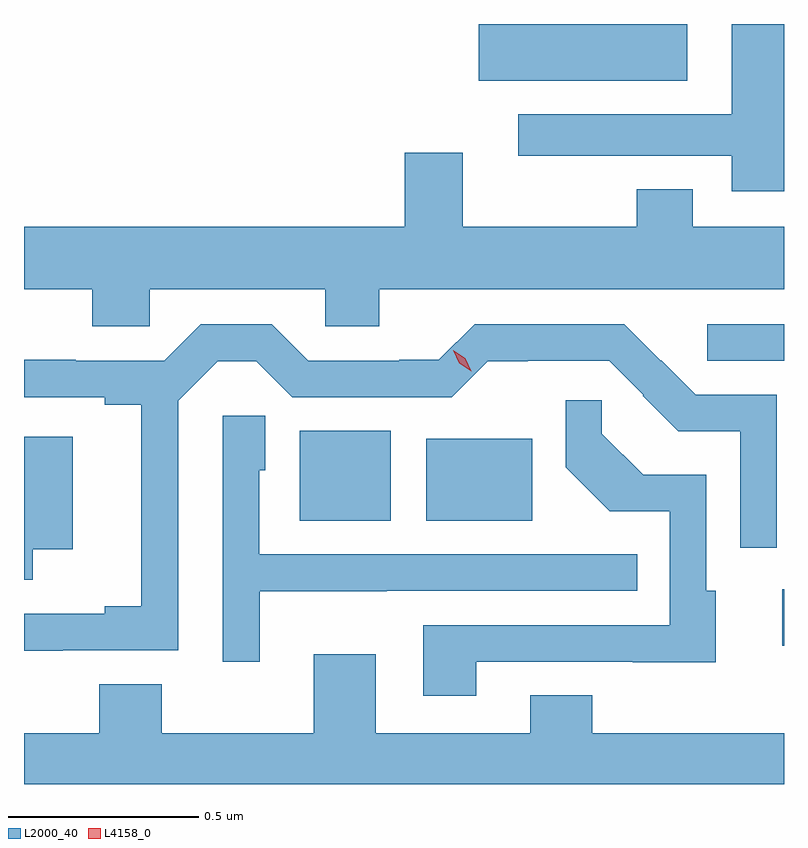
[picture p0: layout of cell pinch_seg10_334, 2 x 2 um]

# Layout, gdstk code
import gdstk
lib = gdstk.Library(unit=1e-6, precision=1e-09)
def R(c, l, rs):  # rectangles x0, y0, x1, y1
    for r in rs: c.add(gdstk.rectangle(r[:2], r[2:], *l))
def P(c, l, *ps):  # polygons
    for p in ps: c.add(gdstk.Polygon(p, *l))
L2000_40 = (2000, 40)
L4158_0 = (4158, 0)

pinch_seg10_334 = lib.new_cell('pinch_seg10_334')
R(pinch_seg10_334, L2000_40, [(425.439,1286.058,425.443,1286.206), (424.169,1286.387,424.408,1286.623), (424.502,1286.387,424.78,1286.602), (425.241,1286.808,425.443,1286.904), (424.64,1287.545,425.188,1287.694)])
P(pinch_seg10_334, L2000_40, [(425.443,1287.694),(425.306,1287.694),(425.306,1287.457),(424.743,1287.457),(424.743,1287.347),(425.306,1287.347),(425.306,1287.254),(425.443,1287.254)],
  [(423.774,1286.996),(424.236,1286.996),(424.236,1286.898),(424.378,1286.898),(424.378,1286.996),(425.443,1286.996),(425.443,1287.16),(425.203,1287.16),(425.203,1287.259),(425.056,1287.259),(425.056,1287.16),(424.597,1287.16),(424.597,1287.355),(424.445,1287.355),(424.445,1287.16),(423.443,1287.16),(423.443,1286.996),(423.623,1286.996),(423.623,1286.898),(423.774,1286.898)],
  [(423.545,1286.046),(423.849,1286.046),(423.849,1286.703),(423.953,1286.807),(424.054,1286.807),(424.149,1286.712),(424.569,1286.712),(424.664,1286.807),(424.768,1286.807),(424.768,1286.808),(424.983,1286.808),(425.073,1286.718),(425.071,1286.716),(425.165,1286.622),(425.328,1286.622),(425.328,1286.316),(425.424,1286.316),(425.424,1286.718),(425.211,1286.718),(425.12,1286.809),(425.119,1286.808),(425.023,1286.904),(424.629,1286.904),(424.535,1286.81),(424.43,1286.81),(424.43,1286.808),(424.191,1286.808),(424.095,1286.904),(423.908,1286.904),(423.812,1286.808),(423.579,1286.808),(423.579,1286.81),(423.443,1286.81),(423.443,1286.712),(423.656,1286.712),(423.656,1286.692),(423.752,1286.692),(423.752,1286.162),(423.656,1286.162),(423.656,1286.142),(423.443,1286.142),(423.443,1286.045),(423.545,1286.045)],
  [(424.633,1286.016),(425.045,1286.016),(425.045,1286.015),(425.263,1286.015),(425.263,1286.202),(425.238,1286.202),(425.238,1286.508),(425.072,1286.508),(424.964,1286.616),(424.964,1286.704),(424.869,1286.704),(424.869,1286.528),(424.985,1286.412),(425.142,1286.412),(425.142,1286.112),(424.493,1286.112),(424.493,1285.926),(424.633,1285.926)],
  [(424.063,1286.201),(424.397,1286.201),(424.397,1286.202),(425.057,1286.202),(425.057,1286.298),(424.062,1286.298),(424.062,1286.52),(424.078,1286.52),(424.078,1286.663),(423.966,1286.663),(423.966,1286.016),(424.063,1286.016)],
  [(423.466,1286.312),(423.571,1286.312),(423.571,1286.608),(423.443,1286.608),(423.443,1286.232),(423.466,1286.232)],
  [(425.443,1285.828),(424.939,1285.828),(424.939,1285.927),(424.775,1285.927),(424.775,1285.828),(424.369,1285.828),(424.369,1286.035),(424.205,1286.035),(424.205,1285.828),(423.805,1285.828),(423.805,1285.957),(423.641,1285.957),(423.641,1285.828),(423.443,1285.828),(423.443,1285.694),(425.443,1285.694)])
P(pinch_seg10_334, L4158_0, [(424.62,1286.78),(424.589,1286.801),(424.573,1286.835),(424.573,1286.835),(424.573,1286.835),(424.604,1286.814),(424.62,1286.78),(424.62,1286.78)])

lib.write_gds('pinch_seg10_334.gds')
